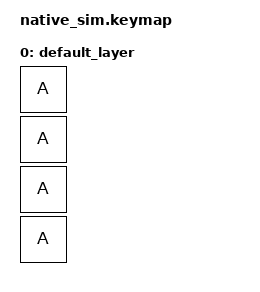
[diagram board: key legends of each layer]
#include <dt-bindings/zmk/keys.h>
#include <behaviors.dtsi>
#include <dt-bindings/zmk/kscan_mock.h>

/ {
	keymap {
		compatible = "zmk,keymap";

		default_layer {
			bindings = <
			&kp A
			&kp A
			&kp A
			&kp A
			>;
		};
	};
};

&kscan {
	events = <
	ZMK_MOCK_PRESS(0,0,350)
	ZMK_MOCK_RELEASE(0,0,10)
	>;
};
